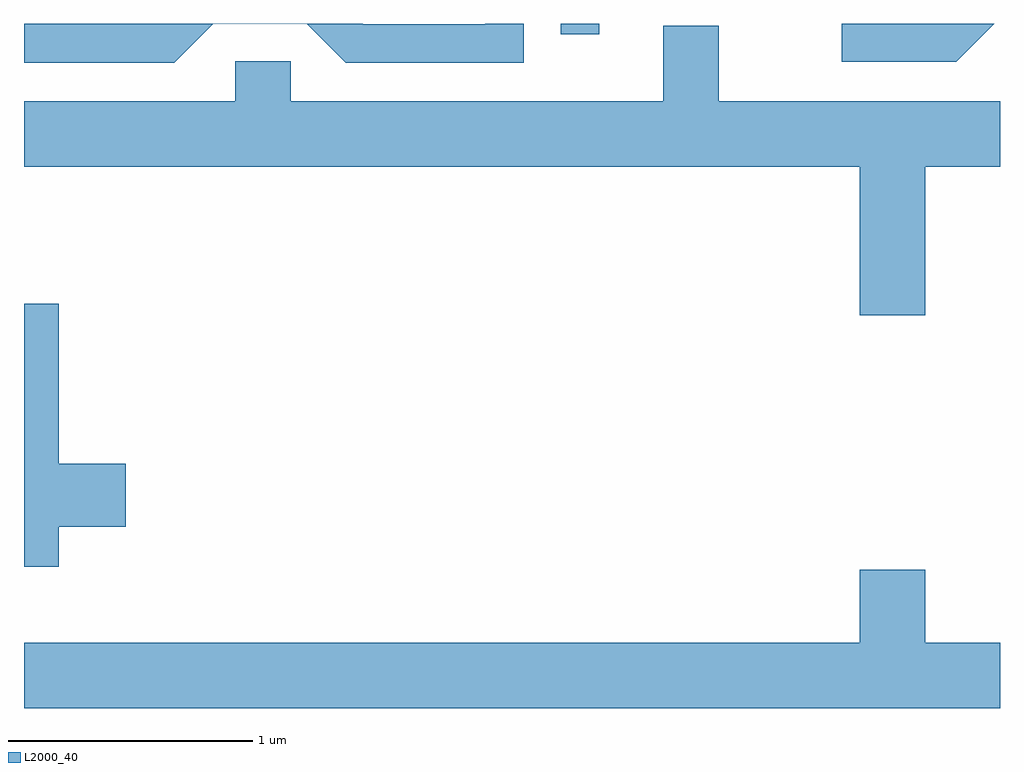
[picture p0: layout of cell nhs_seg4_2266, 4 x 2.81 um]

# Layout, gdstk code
import gdstk
lib = gdstk.Library(unit=1e-6, precision=1e-09)
def R(c, l, rs):  # rectangles x0, y0, x1, y1
    for r in rs: c.add(gdstk.rectangle(r[:2], r[2:], *l))
def P(c, l, *ps):  # polygons
    for p in ps: c.add(gdstk.Polygon(p, *l))
L2000_40 = (2000, 40)

nhs_seg4_2266 = lib.new_cell('nhs_seg4_2266')
R(nhs_seg4_2266, L2000_40, [(253.811,1301.938,253.969,1301.982)])
P(nhs_seg4_2266, L2000_40, [(255.587,1301.982),(254.963,1301.982),(254.963,1301.826),(255.432,1301.826)],
  [(252.387,1301.981),(252.769,1301.981),(252.929,1301.821),(253.659,1301.821),(253.659,1301.982),(253.501,1301.982),(253.501,1301.979),(253.002,1301.979),(252.999,1301.982),(251.611,1301.982),(251.611,1301.821),(252.227,1301.821)],
  [(255.304,1301.396),(255.611,1301.396),(255.611,1301.664),(254.459,1301.664),(254.459,1301.974),(254.231,1301.974),(254.231,1301.664),(252.704,1301.664),(252.704,1301.829),(252.476,1301.829),(252.476,1301.664),(251.611,1301.664),(251.611,1301.396),(255.036,1301.396),(255.036,1300.786),(255.304,1300.786)],
  [(251.754,1299.921),(252.029,1299.921),(252.029,1300.179),(251.754,1300.179),(251.754,1300.834),(251.611,1300.834),(251.611,1299.756),(251.754,1299.756)],
  [(255.611,1299.444),(255.304,1299.444),(255.304,1299.744),(255.036,1299.744),(255.036,1299.444),(251.611,1299.444),(251.611,1299.176),(255.611,1299.176)])

lib.write_gds('nhs_seg4_2266.gds')
